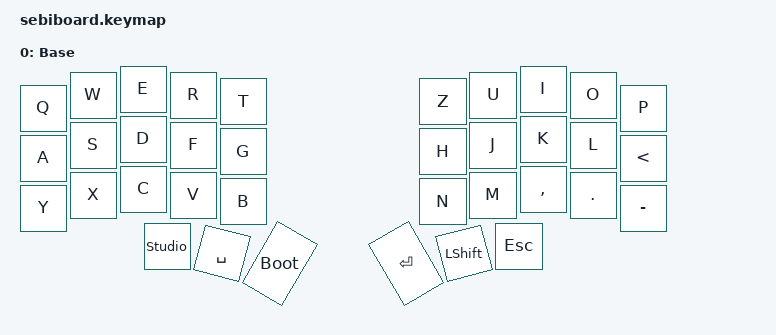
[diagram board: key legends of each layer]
#include <behaviors.dtsi>
#include <dt-bindings/zmk/keys.h>

// dt-formatter: indent = "  "
// dt-formatter: multilineIntegerCellsIndent = "reindent"
// dt-formatter: multilineListCommaStyle = "leading"

/ {
  keymap {
    compatible = "zmk,keymap";


    default_layer { // Layer 0
      
      display-name = "Base";
      bindings = <
        &kp Q  &kp W  &kp E     &kp R             &kp T        &kp Z    &kp U           &kp I      &kp O    &kp P
        &kp A  &kp S  &kp D     &kp F             &kp G        &kp H    &kp J           &kp K      &kp L    &kp LESS_THAN
        &kp Y  &kp X  &kp C     &kp V             &kp B        &kp N    &kp M           &kp COMMA  &kp DOT  &kp MINUS
                      &studio_unlock  &kp SPACE   &bootloader	   &kp RET  &kp LEFT_SHIFT  &kp ESC
      >;
    };

    extra1 {
        status = "reserved";
    };

    extra2 {
        status = "reserved";
    };

    extra4 {
        status = "reserved";
    };

    extra5 {
        status = "reserved";
    };

    extra6 {
        status = "reserved";
    };

    extra7 {
        status = "reserved";
    };

    extra8 {
        status = "reserved";
    };

    extra9 {
        status = "reserved";
    };
  };
};
